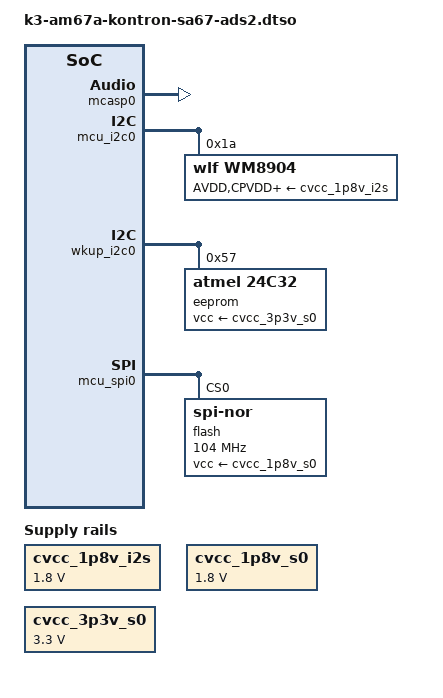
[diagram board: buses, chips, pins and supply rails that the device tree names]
/dts-v1/;
/plugin/;

&{/} {
	sound {
		compatible = "simple-audio-card";
		simple-audio-card,widgets =
			"Headphone", "Headphone Jack",
			"Line", "Line Out Jack",
			"Microphone", "Microphone Jack",
			"Line", "Line In Jack";
		simple-audio-card,routing =
			"Line Out Jack", "LINEOUTR",
			"Line Out Jack", "LINEOUTL",
			"Headphone Jack", "HPOUTR",
			"Headphone Jack", "HPOUTL",
			"IN1L", "Line In Jack",
			"IN1R", "Line In Jack",
			"Microphone Jack", "MICBIAS",
			"IN2L", "Microphone Jack",
			"IN2R", "Microphone Jack";
		simple-audio-card,mclk-fs = <256>;
		simple-audio-card,format = "i2s";
		simple-audio-card,bitclock-master = <&dailink0_master>;
		simple-audio-card,frame-master = <&dailink0_master>;

		simple-audio-card,cpu {
			sound-dai = <&mcasp0>;
		};

		dailink0_master: simple-audio-card,codec {
			sound-dai = <&wm8904>;
			clocks = <&audio_refclk0>;
		};
	};

	cvcc_1p8v_i2s: regulator-carrier-0 {
		compatible = "regulator-fixed";
		regulator-name = "V_1V8_S0_I2S";
		regulator-min-microvolt = <1800000>;
		regulator-max-microvolt = <1800000>;
	};

	cvcc_1p8v_s0: regulator-carrier-1 {
		compatible = "regulator-fixed";
		regulator-name = "V_1V8_S0";
		regulator-min-microvolt = <1800000>;
		regulator-max-microvolt = <1800000>;
	};

	cvcc_3p3v_s0: regulator-carrier-2 {
		compatible = "regulator-fixed";
		regulator-name = "V_3V3_S0";
		regulator-min-microvolt = <3300000>;
		regulator-max-microvolt = <3300000>;
	};
};

&audio_refclk0 {
	status = "okay";
};

&mcasp0 {
	status = "okay";
};

&mcu_i2c0 {
	status = "okay";
	#address-cells = <1>;
	#size-cells = <0>;

	wm8904: audio-codec@1a {
		#sound-dai-cells = <0>;
		compatible = "wlf,wm8904";
		reg = <0x1a>;
		clocks = <&audio_refclk0>;
		clock-names = "mclk";
		AVDD-supply = <&cvcc_1p8v_i2s>;
		CPVDD-supply = <&cvcc_1p8v_i2s>;
		DBVDD-supply = <&cvcc_1p8v_i2s>;
		DCVDD-supply = <&cvcc_1p8v_i2s>;
		MICVDD-supply = <&cvcc_1p8v_i2s>;
	};
};

&wkup_i2c0 {
	status = "okay";
	#address-cells = <1>;
	#size-cells = <0>;

	/* SMARC Carrier EEPROM */
	eeprom@57 {
		compatible = "atmel,24c32";
		reg = <0x57>;
		pagesize = <32>;
		vcc-supply = <&cvcc_3p3v_s0>;
	};
};

&mcu_spi0 {
	status = "okay";
	#address-cells = <1>;
	#size-cells = <0>;

	flash@0 {
		compatible = "jedec,spi-nor";
		reg = <0>;
		spi-max-frequency = <104000000>;
		m25p,fast-read;
		vcc-supply = <&cvcc_1p8v_s0>;
	};
};
